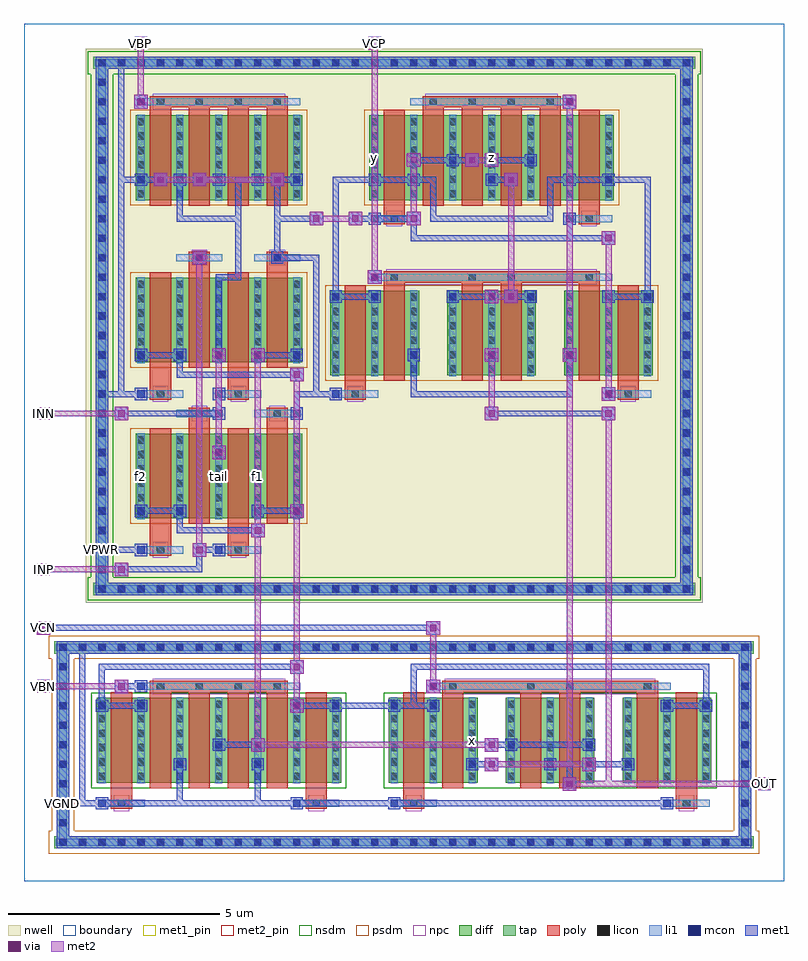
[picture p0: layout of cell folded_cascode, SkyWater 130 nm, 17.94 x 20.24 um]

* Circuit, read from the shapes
.subckt folded_cascode INN INP OUT VBN VBP VCN VCP VGND VPWR f1 f2 tail x y z
XM1 f1 VGND f1 VGND sky130_fd_pr__nfet_01v8 w=2 l=0.5 m=4
XM2 VGND VBN f1 VGND sky130_fd_pr__nfet_01v8 w=2 l=0.5 m=2
XM3 f2 VBN VGND VGND sky130_fd_pr__nfet_01v8 w=2 l=0.5 m=2
XM4 x VCN f1 VGND sky130_fd_pr__nfet_01v8 w=2 l=0.5 m=2
XM5 OUT VCN f2 VGND sky130_fd_pr__nfet_01v8 w=2 l=0.5 m=2
XM6 f2 VPWR f2 VPWR sky130_fd_pr__pfet_01v8 w=2 l=0.5 m=2
XM7 f1 VPWR f1 VPWR sky130_fd_pr__pfet_01v8 w=2 l=0.5 m=2
XM8 tail VBP VPWR VPWR sky130_fd_pr__pfet_01v8 w=2 l=0.5 m=4
XM9 tail INN f2 VPWR sky130_fd_pr__pfet_01v8 w=2 l=0.5 m=2
XM10 tail INP f1 VPWR sky130_fd_pr__pfet_01v8 w=2 l=0.5 m=2
XM11 y VPWR y VPWR sky130_fd_pr__pfet_01v8 w=2 l=0.5 m=4
XM12 x VCP y VPWR sky130_fd_pr__pfet_01v8 w=2 l=0.5 m=2
XM13 VPWR x y VPWR sky130_fd_pr__pfet_01v8 w=2 l=0.5 m=2
XM14 OUT VCP z VPWR sky130_fd_pr__pfet_01v8 w=2 l=0.5 m=2
XM15 z x VPWR VPWR sky130_fd_pr__pfet_01v8 w=2 l=0.5 m=2
.ends

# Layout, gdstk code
import gdstk
lib = gdstk.Library(unit=1e-6, precision=1e-09)
def R(c, l, rs):  # rectangles x0, y0, x1, y1
    for r in rs: c.add(gdstk.rectangle(r[:2], r[2:], *l))
def A(c, l, x, y, w, h, nx, ny, dx, dy):  # array of equal rectangles
    R(c, l, [(x+i*dx, y+j*dy, x+i*dx+w, y+j*dy+h) for i in range(nx) for j in range(ny)])
nwell = (64, 20)
diff = (65, 20)
tap = (65, 44)
poly = (66, 20)
licon = (66, 44)
li1 = (67, 20)
mcon = (67, 44)
met1_pin = (68, 16)
met1 = (68, 20)
via = (68, 44)
met2_pin = (69, 16)
met2 = (69, 20)
nsdm = (93, 44)
psdm = (94, 20)
npc = (95, 20)
boundary = (235, 4)

folded_cascode = lib.new_cell('folded_cascode')
R(folded_cascode, nwell, [(1.455,6.575,16.025,19.645)])
A(folded_cascode, diff, 8.615, 2.325, 2.09, 2, 3, 1, 2.76, 0)
A(folded_cascode, diff, 7.235, 11.94, 2.09, 2, 3, 1, 2.76, 0)
R(folded_cascode, diff, [(1.715,2.325,7.485,4.325), (2.635,8.565,6.565,10.565), (2.635,12.245,6.565,14.245), (2.635,16.08,6.565,18.08), (8.155,16.08,13.925,18.08)])
R(folded_cascode, tap, [(0.715,0.775,17.225,1.065), (0.775,0.775,1.065,5.665), (16.875,0.775,17.165,5.665), (0.715,5.375,17.225,5.665), (1.635,6.755,15.845,7.045), (1.695,6.755,1.985,19.465), (15.495,6.755,15.785,19.465), (1.635,19.175,15.845,19.465)])
A(folded_cascode, poly, 2.97, 2.195, 0.5, 2.405, 4, 1, 0.92, 0)
A(folded_cascode, poly, 2.97, 15.95, 0.5, 2.45, 4, 1, 0.92, 0)
A(folded_cascode, poly, 9.41, 15.95, 0.5, 2.45, 4, 1, 0.92, 0)
R(folded_cascode, poly, [(2.05,1.705,2.55,1.975), (6.65,1.705,7.15,1.975), (8.95,1.705,9.45,1.975), (15.39,1.705,15.89,1.975), (2.05,1.84,2.55,4.455), (6.65,1.84,7.15,4.455), (8.95,1.84,9.45,4.455), (15.39,1.84,15.89,4.455), (9.87,2.195,10.37,4.6), (11.71,2.195,12.21,4.6), (12.63,2.195,13.13,4.6), (14.47,2.195,14.97,4.6), (2.97,4.465,6.23,4.735), (9.87,4.465,14.97,4.735), (2.97,7.685,3.47,7.955), (4.81,7.685,5.31,7.955), (2.97,7.82,3.47,10.695), (4.81,7.82,5.31,10.695), (3.89,8.435,4.39,11.04), (5.73,8.435,6.23,11.04), (3.89,10.905,4.39,11.175), (5.73,10.905,6.23,11.175), (2.97,11.365,3.47,11.635), (4.81,11.365,5.31,11.635), (7.57,11.365,8.07,11.635), (14.01,11.365,14.51,11.635), (2.97,11.5,3.47,14.375), (4.81,11.5,5.31,14.375), (7.57,11.5,8.07,14.07), (14.01,11.5,14.51,14.07), (8.49,11.81,8.99,14.26), (10.33,11.81,10.83,14.26), (11.25,11.81,11.75,14.26), (13.09,11.81,13.59,14.26), (3.89,12.115,4.39,14.72), (5.73,12.115,6.23,14.72), (8.49,14.125,13.59,14.395), (3.89,14.585,4.39,14.855), (5.73,14.585,6.23,14.855), (8.49,15.505,8.99,15.775), (13.09,15.505,13.59,15.775), (8.49,15.64,8.99,18.21), (13.09,15.64,13.59,18.21), (2.97,18.265,6.23,18.535), (9.41,18.265,12.67,18.535)])
A(folded_cascode, licon, 0.835, 0.835, 0.17, 0.17, 36, 2, 0.46, 4.6)
A(folded_cascode, licon, 0.835, 1.295, 0.17, 0.17, 1, 9, 0, 0.46)
A(folded_cascode, licon, 16.935, 1.295, 0.17, 0.17, 1, 9, 0, 0.46)
A(folded_cascode, licon, 1.755, 2.39, 0.17, 0.17, 7, 6, 0.92, 0.34)
A(folded_cascode, licon, 8.655, 2.39, 0.17, 0.17, 9, 6, 0.92, 0.34)
A(folded_cascode, licon, 3.135, 4.515, 0.17, 0.17, 4, 2, 0.92, 13.8)
A(folded_cascode, licon, 1.755, 6.815, 0.17, 0.17, 31, 2, 0.46, 12.42)
A(folded_cascode, licon, 1.755, 7.275, 0.17, 0.17, 1, 26, 0, 0.46)
A(folded_cascode, licon, 15.555, 7.275, 0.17, 0.17, 1, 26, 0, 0.46)
A(folded_cascode, licon, 2.675, 8.63, 0.17, 0.17, 5, 6, 0.92, 0.34)
A(folded_cascode, licon, 7.275, 12.005, 0.17, 0.17, 9, 6, 0.92, 0.34)
A(folded_cascode, licon, 2.675, 12.31, 0.17, 0.17, 5, 6, 0.92, 0.34)
A(folded_cascode, licon, 2.675, 16.145, 0.17, 0.17, 5, 6, 0.92, 0.34)
A(folded_cascode, licon, 8.195, 16.145, 0.17, 0.17, 7, 6, 0.92, 0.34)
A(folded_cascode, licon, 9.575, 18.315, 0.17, 0.17, 4, 1, 0.92, 0)
R(folded_cascode, licon, [(2.215,1.755,2.385,1.925), (6.815,1.755,6.985,1.925), (9.115,1.755,9.285,1.925), (15.555,1.755,15.725,1.925), (10.035,4.515,10.205,4.685), (11.875,4.515,12.045,4.685), (12.795,4.515,12.965,4.685), (14.635,4.515,14.805,4.685), (3.135,7.735,3.305,7.905), (4.975,7.735,5.145,7.905), (4.055,10.955,4.225,11.125), (5.895,10.955,6.065,11.125), (3.135,11.415,3.305,11.585), (4.975,11.415,5.145,11.585), (7.735,11.415,7.905,11.585), (14.175,11.415,14.345,11.585), (8.655,14.175,8.825,14.345), (10.495,14.175,10.665,14.345), (11.415,14.175,11.585,14.345), (13.255,14.175,13.425,14.345), (4.055,14.635,4.225,14.805), (5.895,14.635,6.065,14.805), (8.655,15.555,8.825,15.725), (13.255,15.555,13.425,15.725)])
A(folded_cascode, li1, 1.755, 2.31, 0.17, 2.03, 7, 1, 0.92, 0)
A(folded_cascode, li1, 8.655, 2.31, 0.17, 2.03, 9, 1, 0.92, 0)
A(folded_cascode, li1, 2.675, 8.55, 0.17, 2.03, 5, 2, 0.92, 3.68)
A(folded_cascode, li1, 7.275, 11.925, 0.17, 2.03, 9, 1, 0.92, 0)
A(folded_cascode, li1, 2.675, 16.065, 0.17, 2.03, 5, 1, 0.92, 0)
A(folded_cascode, li1, 8.195, 16.065, 0.17, 2.03, 7, 1, 0.92, 0)
R(folded_cascode, li1, [(0.755,0.835,17.185,1.005), (0.835,0.835,1.005,5.605), (16.935,0.835,17.105,5.605), (1.755,1.755,2.845,1.925), (6.355,1.755,7.445,1.925), (8.655,1.755,9.745,1.925), (15.095,1.755,16.185,1.925), (2.675,4.515,6.525,4.685), (9.575,4.515,15.265,4.685), (0.755,5.435,17.185,5.605), (1.675,6.815,15.805,6.985), (1.755,6.815,1.925,19.405), (15.555,6.815,15.725,19.405), (2.675,7.735,3.765,7.905), (4.515,7.735,5.605,7.905), (3.595,10.955,4.685,11.125), (5.435,10.955,6.525,11.125), (2.675,11.415,3.765,11.585), (4.515,11.415,5.605,11.585), (7.275,11.415,8.365,11.585), (13.715,11.415,14.805,11.585), (8.195,14.175,13.885,14.345), (3.595,14.635,4.685,14.805), (5.435,14.635,6.525,14.805), (8.195,15.555,9.285,15.725), (12.795,15.555,13.885,15.725), (2.675,18.315,6.525,18.485), (9.115,18.315,12.965,18.485), (1.675,19.235,15.805,19.405)])
A(folded_cascode, mcon, 0.835, 0.835, 0.17, 0.17, 36, 2, 0.46, 4.6)
A(folded_cascode, mcon, 0.835, 1.295, 0.17, 0.17, 1, 6, 0, 0.46)
A(folded_cascode, mcon, 16.935, 1.295, 0.17, 0.17, 1, 6, 0, 0.46)
A(folded_cascode, mcon, 10.495, 2.675, 0.17, 0.17, 3, 1, 1.84, 0)
A(folded_cascode, mcon, 0.835, 4.055, 0.17, 0.17, 3, 1, 0.92, 0)
A(folded_cascode, mcon, 15.095, 4.055, 0.17, 0.17, 3, 1, 0.92, 0)
A(folded_cascode, mcon, 1.755, 6.815, 0.17, 0.17, 31, 2, 0.46, 12.42)
A(folded_cascode, mcon, 1.755, 7.275, 0.17, 0.17, 1, 3, 0, 0.46)
A(folded_cascode, mcon, 15.555, 7.275, 0.17, 0.17, 1, 26, 0, 0.46)
A(folded_cascode, mcon, 1.755, 8.655, 0.17, 0.17, 3, 1, 0.92, 0)
A(folded_cascode, mcon, 1.755, 9.115, 0.17, 0.17, 1, 7, 0, 0.46)
A(folded_cascode, mcon, 1.755, 12.335, 0.17, 0.17, 6, 2, 0.92, 4.14)
A(folded_cascode, mcon, 9.115, 12.335, 0.17, 0.17, 3, 2, 1.84, 4.14)
A(folded_cascode, mcon, 1.755, 12.795, 0.17, 0.17, 1, 8, 0, 0.46)
A(folded_cascode, mcon, 8.195, 13.715, 0.17, 0.17, 4, 1, 1.84, 0)
A(folded_cascode, mcon, 1.755, 16.935, 0.17, 0.17, 1, 5, 0, 0.46)
R(folded_cascode, mcon, [(1.755,1.755,1.925,1.925), (6.355,1.755,6.525,1.925), (8.655,1.755,8.825,1.925), (15.095,1.755,15.265,1.925), (3.595,2.675,3.765,2.845), (5.435,2.675,5.605,2.845), (4.515,3.135,4.685,3.305), (11.415,3.135,11.585,3.305), (13.255,3.135,13.425,3.305), (6.355,4.055,6.525,4.225), (7.275,4.055,7.445,4.225), (8.655,4.055,8.825,4.225), (9.575,4.055,9.745,4.225), (0.835,4.515,1.005,4.685), (2.675,4.515,2.845,4.685), (9.575,4.515,9.745,4.685), (16.935,4.515,17.105,4.685), (0.835,4.975,1.005,5.145), (16.935,4.975,17.105,5.145), (2.675,7.735,2.845,7.905), (4.515,7.735,4.685,7.905), (5.435,8.655,5.605,8.825), (6.355,8.655,6.525,8.825), (4.515,10.035,4.685,10.205), (4.515,10.955,4.685,11.125), (6.355,10.955,6.525,11.125), (2.675,11.415,2.845,11.585), (4.515,11.415,4.685,11.585), (7.275,11.415,7.445,11.585), (13.715,11.415,13.885,11.585), (7.275,13.715,7.445,13.885), (14.635,13.715,14.805,13.885), (8.195,14.175,8.365,14.345), (4.055,14.635,4.225,14.805), (5.895,14.635,6.065,14.805), (8.195,15.555,8.365,15.725), (12.795,15.555,12.965,15.725), (8.195,16.475,8.365,16.645), (13.715,16.475,13.885,16.645), (10.035,16.935,10.205,17.105), (11.875,16.935,12.045,17.105), (2.675,18.315,2.845,18.485), (12.795,18.315,12.965,18.485)])
R(folded_cascode, met1_pin, [(0.85,1.77,0.99,1.91), (1.77,7.75,1.91,7.89)])
A(folded_cascode, met1, 10.435, 2.615, 0.29, 0.29, 3, 1, 1.84, 0)
A(folded_cascode, met1, 1.77, 4.07, 1.06, 0.14, 1, 3, 0, 3.68)
A(folded_cascode, met1, 10.88, 10.88, 0.32, 0.32, 1, 3, 0, 1.38)
A(folded_cascode, met1, 2.615, 12.275, 0.29, 0.29, 5, 2, 0.92, 4.14)
A(folded_cascode, met1, 9.055, 12.275, 0.29, 0.29, 3, 2, 1.84, 4.14)
A(folded_cascode, met1, 8.135, 13.655, 0.29, 0.29, 4, 1, 1.84, 0)
A(folded_cascode, met1, 4.07, 16.49, 0.6, 0.14, 3, 1, 0.92, 0)
R(folded_cascode, met1, [(0.775,0.775,17.165,1.065), (0.775,0.775,1.065,5.665), (16.875,0.775,17.165,5.665), (1.695,1.695,1.985,1.985), (6.295,1.695,6.585,1.985), (8.595,1.695,8.885,1.985), (15.035,1.695,15.325,1.985), (0.85,1.77,1.91,1.91), (0.85,1.77,0.99,1.91), (1.31,1.77,1.45,5.59), (1.77,1.77,3.75,1.91), (3.61,1.77,3.75,2.83), (3.61,1.77,6.51,1.91), (5.45,1.77,5.59,2.83), (6.37,1.77,8.81,1.91), (8.67,1.77,15.25,1.91), (12.72,2.14,13.04,2.46), (12.81,2.23,12.95,2.83), (10.88,2.6,11.2,2.92), (13.18,2.6,13.5,2.92), (3.535,2.615,3.825,2.905), (5.375,2.615,5.665,2.905), (10.51,2.69,11.11,2.83), (12.35,2.69,12.95,2.83), (13.27,2.69,14.33,2.83), (5.36,3.06,5.68,3.38), (10.88,3.06,11.2,3.38), (4.455,3.075,4.745,3.365), (11.355,3.075,11.645,3.365), (13.195,3.075,13.485,3.365), (4.53,3.15,5.59,3.29), (10.97,3.15,11.57,3.29), (11.43,3.15,13.41,3.29), (6.28,3.98,6.6,4.3), (1.695,3.995,1.985,4.285), (2.615,3.995,2.905,4.285), (6.295,3.995,6.585,4.285), (7.215,3.995,7.505,4.285), (8.595,3.995,8.885,4.285), (9.515,3.995,9.805,4.285), (15.035,3.995,15.325,4.285), (15.955,3.995,16.245,4.285), (1.77,4.07,1.91,5.13), (6.37,4.07,7.43,4.21), (7.29,4.07,8.81,4.21), (8.67,4.07,9.73,4.21), (9.13,4.07,9.27,5.13), (15.11,4.07,16.17,4.21), (16.03,4.07,16.17,5.13), (2.14,4.44,2.46,4.76), (9.5,4.44,9.82,4.76), (2.615,4.455,2.905,4.745), (9.515,4.455,9.805,4.745), (2.23,4.53,2.83,4.67), (6.28,4.9,6.6,5.22), (1.77,4.99,6.51,5.13), (9.13,4.99,16.17,5.13), (0.775,5.375,17.165,5.665), (1.31,5.45,1.45,5.59), (0.3,5.82,0.62,6.14), (9.5,5.82,9.82,6.14), (0.39,5.91,9.73,6.05), (1.695,6.755,15.785,7.045), (1.695,6.755,1.985,19.465), (15.495,6.755,15.785,19.465), (2.14,7.2,2.46,7.52), (2.23,7.29,4.21,7.43), (4.07,7.29,4.21,7.89), (3.98,7.66,4.3,7.98), (2.615,7.675,2.905,7.965), (4.455,7.675,4.745,7.965), (1.77,7.75,1.91,11.57), (1.77,7.75,1.91,7.89), (4.07,7.75,4.67,7.89), (5.36,8.12,5.68,8.44), (3.61,8.21,3.75,8.81), (3.61,8.21,5.59,8.35), (6.28,8.58,6.6,8.9), (2.615,8.595,2.905,8.885), (3.535,8.595,3.825,8.885), (5.375,8.595,5.665,8.885), (6.295,8.595,6.585,8.885), (2.69,8.67,3.75,8.81), (5.45,8.67,6.51,8.81), (4.44,9.96,4.76,10.28), (4.455,9.975,4.745,10.265), (2.14,10.88,2.46,11.2), (13.64,10.88,13.96,11.2), (4.455,10.895,4.745,11.185), (6.295,10.895,6.585,11.185), (2.23,10.97,4.67,11.11), (4.53,10.97,4.67,11.57), (6.37,10.97,6.51,11.57), (10.97,10.97,13.87,11.11), (13.64,11.34,13.96,11.66), (2.615,11.355,2.905,11.645), (4.455,11.355,4.745,11.645), (7.215,11.355,7.505,11.645), (13.655,11.355,13.945,11.645), (2.23,11.43,2.37,16.63), (6.37,11.43,6.97,11.57), (6.83,11.43,7.43,11.57), (6.83,11.43,6.97,14.79), (9.13,11.43,9.27,12.49), (9.13,11.43,12.95,11.57), (12.81,11.43,12.95,12.49), (6.28,11.8,6.6,12.12), (3.61,11.89,6.51,12.03), (3.61,11.89,3.75,12.49), (4.44,12.26,4.76,12.58), (5.36,12.26,5.68,12.58), (12.72,12.26,13.04,12.58), (2.69,12.35,3.75,12.49), (4.53,12.35,4.67,14.33), (5.45,12.35,6.51,12.49), (11.34,13.64,11.66,13.96), (7.215,13.655,7.505,13.945), (14.575,13.655,14.865,13.945), (7.29,13.73,8.35,13.87), (7.29,13.73,7.43,16.63), (10.05,13.73,11.11,13.87), (11.43,13.73,12.03,13.87), (13.73,13.73,14.79,13.87), (14.65,13.73,14.79,16.63), (8.12,14.1,8.44,14.42), (8.135,14.115,8.425,14.405), (4.53,14.19,5.13,14.33), (4.99,14.19,5.13,16.63), (3.98,14.56,4.3,14.88), (3.995,14.575,4.285,14.865), (5.835,14.575,6.125,14.865), (5.91,14.65,6.97,14.79), (5.91,14.65,6.05,16.63), (13.64,15.02,13.96,15.34), (9.13,15.11,12.95,15.25), (9.13,15.11,9.27,15.71), (12.81,15.11,13.87,15.25), (12.81,15.11,12.95,15.71), (6.74,15.48,7.06,15.8), (7.66,15.48,7.98,15.8), (9.04,15.48,9.36,15.8), (8.135,15.495,8.425,15.785), (12.735,15.495,13.025,15.785), (3.61,15.57,5.13,15.71), (3.61,15.57,3.75,16.63), (5.91,15.57,6.97,15.71), (7.75,15.57,8.35,15.71), (8.21,15.57,9.27,15.71), (9.59,15.57,9.73,16.63), (9.59,15.57,12.49,15.71), (12.35,15.57,12.49,16.63), (3.06,16.4,3.38,16.72), (3.98,16.4,4.3,16.72), (5.82,16.4,6.14,16.72), (11.34,16.4,11.66,16.72), (8.135,16.415,8.425,16.705), (13.655,16.415,13.945,16.705), (2.23,16.49,2.83,16.63), (2.23,16.49,2.37,19.39), (2.69,16.49,3.29,16.63), (7.29,16.49,8.35,16.63), (8.21,16.49,9.27,16.63), (9.13,16.49,9.73,16.63), (10.97,16.49,11.57,16.63), (12.35,16.49,12.95,16.63), (12.81,16.49,13.87,16.63), (13.73,16.49,14.79,16.63), (9.04,16.86,9.36,17.18), (10.42,16.86,10.74,17.18), (10.88,16.86,11.2,17.18), (9.975,16.875,10.265,17.165), (11.815,16.875,12.105,17.165), (9.13,16.95,10.19,17.09), (10.05,16.95,10.65,17.09), (10.97,16.95,12.03,17.09), (2.6,18.24,2.92,18.56), (12.72,18.24,13.04,18.56), (2.615,18.255,2.905,18.545), (12.735,18.255,13.025,18.545), (1.695,19.175,15.785,19.465), (2.23,19.25,2.37,19.39)])
A(folded_cascode, via, 10.965, 10.965, 0.15, 0.15, 1, 3, 0, 1.38)
R(folded_cascode, via, [(12.805,2.225,12.955,2.375), (10.965,2.685,11.115,2.835), (13.265,2.685,13.415,2.835), (5.445,3.145,5.595,3.295), (10.965,3.145,11.115,3.295), (6.365,4.065,6.515,4.215), (2.225,4.525,2.375,4.675), (9.585,4.525,9.735,4.675), (6.365,4.985,6.515,5.135), (0.385,5.905,0.535,6.055), (9.585,5.905,9.735,6.055), (2.225,7.285,2.375,7.435), (4.065,7.745,4.215,7.895), (5.445,8.205,5.595,8.355), (6.365,8.665,6.515,8.815), (4.525,10.045,4.675,10.195), (2.225,10.965,2.375,11.115), (13.725,10.965,13.875,11.115), (13.725,11.425,13.875,11.575), (6.365,11.885,6.515,12.035), (4.525,12.345,4.675,12.495), (5.445,12.345,5.595,12.495), (12.805,12.345,12.955,12.495), (11.425,13.725,11.575,13.875), (8.205,14.185,8.355,14.335), (4.065,14.645,4.215,14.795), (13.725,15.105,13.875,15.255), (6.825,15.565,6.975,15.715), (7.745,15.565,7.895,15.715), (9.125,15.565,9.275,15.715), (3.145,16.485,3.295,16.635), (4.065,16.485,4.215,16.635), (5.905,16.485,6.055,16.635), (11.425,16.485,11.575,16.635), (9.125,16.945,9.275,17.095), (10.505,16.945,10.655,17.095), (10.965,16.945,11.115,17.095), (2.685,18.325,2.835,18.475), (12.805,18.325,12.955,18.475)])
A(folded_cascode, met2_pin, 0.31, 4.45, 0.3, 0.3, 1, 3, 0, 1.38)
R(folded_cascode, met2_pin, [(17.33,2.15,17.63,2.45), (0.31,10.89,0.61,11.19), (2.61,19.63,2.91,19.93), (8.13,19.63,8.43,19.93)])
A(folded_cascode, met2, 0.31, 4.45, 0.3, 0.3, 1, 3, 0, 1.38)
A(folded_cascode, met2, 0.39, 4.53, 0.14, 0.14, 1, 3, 0, 1.38)
A(folded_cascode, met2, 10.88, 10.88, 0.32, 0.32, 1, 3, 0, 1.38)
R(folded_cascode, met2, [(12.72,2.14,13.04,2.46), (17.33,2.15,17.63,2.45), (12.81,2.23,17.55,2.37), (13.73,2.23,13.87,11.11), (17.41,2.23,17.55,2.37), (10.88,2.6,11.2,2.92), (13.18,2.6,13.5,2.92), (10.97,2.69,13.41,2.83), (12.81,2.69,12.95,12.49), (5.36,3.06,5.68,3.38), (10.88,3.06,11.2,3.38), (5.45,3.15,11.11,3.29), (5.45,3.15,5.59,8.35), (6.28,3.98,6.6,4.3), (6.37,4.07,6.51,8.81), (2.14,4.44,2.46,4.76), (9.5,4.44,9.82,4.76), (0.39,4.53,2.37,4.67), (9.59,4.53,9.73,6.05), (6.28,4.9,6.6,5.22), (0.3,5.82,0.62,6.14), (9.5,5.82,9.82,6.14), (2.14,7.2,2.46,7.52), (0.39,7.29,2.37,7.43), (3.98,7.66,4.3,7.98), (4.07,7.75,4.21,14.79), (5.36,8.12,5.68,8.44), (5.45,8.21,5.59,12.49), (6.28,8.58,6.6,8.9), (6.37,8.67,6.51,12.03), (4.44,9.96,4.76,10.28), (4.53,10.05,4.67,12.49), (2.14,10.88,2.46,11.2), (13.64,10.88,13.96,11.2), (0.31,10.89,0.61,11.19), (0.39,10.97,0.53,11.11), (0.39,10.97,2.37,11.11), (10.97,10.97,11.11,12.49), (13.64,11.34,13.96,11.66), (13.73,11.43,13.87,15.25), (6.28,11.8,6.6,12.12), (4.44,12.26,4.76,12.58), (5.36,12.26,5.68,12.58), (12.72,12.26,13.04,12.58), (12.81,12.35,12.95,18.47), (11.34,13.64,11.66,13.96), (10.97,13.73,11.57,13.87), (11.43,13.73,11.57,16.63), (8.12,14.1,8.44,14.42), (8.21,14.19,8.35,19.85), (3.98,14.56,4.3,14.88), (13.64,15.02,13.96,15.34), (6.74,15.48,7.06,15.8), (7.66,15.48,7.98,15.8), (9.04,15.48,9.36,15.8), (6.83,15.57,7.89,15.71), (9.13,15.57,9.27,17.09), (3.06,16.4,3.38,16.72), (3.98,16.4,4.3,16.72), (5.82,16.4,6.14,16.72), (11.34,16.4,11.66,16.72), (3.15,16.49,4.21,16.63), (4.07,16.49,6.05,16.63), (9.04,16.86,9.36,17.18), (10.42,16.86,10.74,17.18), (10.88,16.86,11.2,17.18), (10.51,16.95,11.11,17.09), (2.6,18.24,2.92,18.56), (12.72,18.24,13.04,18.56), (2.69,18.33,2.83,19.85), (2.61,19.63,2.91,19.93), (8.13,19.63,8.43,19.93), (2.69,19.71,2.83,19.85), (8.21,19.71,8.35,19.85)])
R(folded_cascode, nsdm, [(1.59,2.2,7.61,4.45), (8.49,2.2,16.35,4.45), (1.51,6.63,15.97,7.17), (1.57,7.17,2.11,19.05), (15.37,7.17,15.91,19.05), (1.51,19.05,15.97,19.59)])
R(folded_cascode, psdm, [(0.59,0.65,17.35,1.19), (0.65,1.19,1.19,5.25), (16.75,1.19,17.29,5.25), (0.59,5.25,17.35,5.79), (2.51,8.44,6.69,10.69), (7.11,11.815,14.97,14.065), (2.51,12.12,6.69,14.37), (2.51,15.955,6.69,18.205), (8.03,15.955,14.05,18.205)])
R(folded_cascode, npc, [(2.115,1.655,2.485,2.025), (6.715,1.655,7.085,2.025), (9.015,1.655,9.385,2.025), (15.455,1.655,15.825,2.025), (3.035,4.415,6.165,4.785), (9.935,4.415,14.905,4.785), (3.035,7.635,3.405,8.005), (4.875,7.635,5.245,8.005), (3.955,10.855,4.325,11.225), (5.795,10.855,6.165,11.225), (3.035,11.315,3.405,11.685), (4.875,11.315,5.245,11.685), (7.635,11.315,8.005,11.685), (14.075,11.315,14.445,11.685), (8.555,14.075,13.525,14.445), (3.955,14.535,4.325,14.905), (5.795,14.535,6.165,14.905), (8.555,15.455,8.925,15.825), (13.155,15.455,13.525,15.825), (3.035,18.215,6.165,18.585), (9.475,18.215,12.605,18.585)])
R(folded_cascode, boundary, [(0,0,17.94,20.24)])
folded_cascode.add(gdstk.Label('f2', (2.76,9.565), layer=67, texttype=5))
folded_cascode.add(gdstk.Label('tail', (4.6,9.565), layer=67, texttype=5))
folded_cascode.add(gdstk.Label('f1', (5.52,9.565), layer=67, texttype=5))
folded_cascode.add(gdstk.Label('x', (10.58,3.325), layer=67, texttype=5))
folded_cascode.add(gdstk.Label('y', (8.28,17.08), layer=67, texttype=5))
folded_cascode.add(gdstk.Label('z', (11.04,17.08), layer=67, texttype=5))
folded_cascode.add(gdstk.Label('VPWR', (1.84,7.82), layer=68, texttype=5))
folded_cascode.add(gdstk.Label('VGND', (0.92,1.84), layer=68, texttype=5))
folded_cascode.add(gdstk.Label('INP', (0.46,7.36), layer=69, texttype=5))
folded_cascode.add(gdstk.Label('INN', (0.46,11.04), layer=69, texttype=5))
folded_cascode.add(gdstk.Label('VBP', (2.76,19.78), layer=69, texttype=5))
folded_cascode.add(gdstk.Label('VBN', (0.46,4.6), layer=69, texttype=5))
folded_cascode.add(gdstk.Label('VCN', (0.46,5.98), layer=69, texttype=5))
folded_cascode.add(gdstk.Label('VCP', (8.28,19.78), layer=69, texttype=5))
folded_cascode.add(gdstk.Label('OUT', (17.48,2.3), layer=69, texttype=5))
folded_cascode.add(gdstk.Label('VPWR', (1.84,7.82), layer=68, texttype=16))
folded_cascode.add(gdstk.Label('VGND', (0.92,1.84), layer=68, texttype=16))
folded_cascode.add(gdstk.Label('INP', (0.46,7.36), layer=69, texttype=16))
folded_cascode.add(gdstk.Label('INN', (0.46,11.04), layer=69, texttype=16))
folded_cascode.add(gdstk.Label('VBP', (2.76,19.78), layer=69, texttype=16))
folded_cascode.add(gdstk.Label('VBN', (0.46,4.6), layer=69, texttype=16))
folded_cascode.add(gdstk.Label('VCN', (0.46,5.98), layer=69, texttype=16))
folded_cascode.add(gdstk.Label('VCP', (8.28,19.78), layer=69, texttype=16))
folded_cascode.add(gdstk.Label('OUT', (17.48,2.3), layer=69, texttype=16))

lib.write_gds('folded_cascode.gds')
